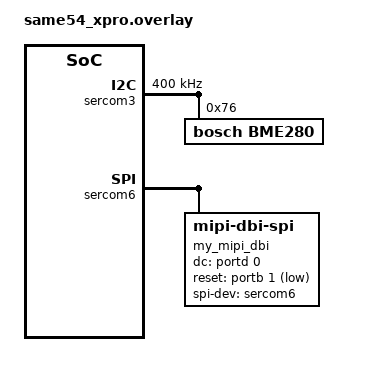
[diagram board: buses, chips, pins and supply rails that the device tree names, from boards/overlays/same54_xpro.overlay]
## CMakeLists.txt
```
cmake_minimum_required(VERSION 3.20.0)

# ------------------------------------------------------------
# Board-specific DTS overlays (MUST be set before Zephyr)
# ------------------------------------------------------------
if(DEFINED BOARD)
  if(BOARD STREQUAL "same54_xpro")
    list(APPEND DTC_OVERLAY_FILE
      ${CMAKE_CURRENT_SOURCE_DIR}/boards/overlays/same54_xpro.overlay
    )
  elseif(BOARD STREQUAL "samd21_iot_wg")
    list(APPEND DTC_OVERLAY_FILE
      ${CMAKE_CURRENT_SOURCE_DIR}/boards/overlays/samd21_iot_wg.overlay
    )
  elseif(BOARD STREQUAL "samd21_iot_wg2")
    list(APPEND DTC_OVERLAY_FILE
      ${CMAKE_CURRENT_SOURCE_DIR}/boards/overlays/samd21_iot_wg2.overlay
    )
    elseif(BOARD STREQUAL "samd21_xpro_ot")
    list(APPEND DTC_OVERLAY_FILE
      ${CMAKE_CURRENT_SOURCE_DIR}/boards/overlays/samd21_xpro_ot.overlay
    )
  elseif(BOARD STREQUAL "feather_m4_zephyr_ot")
    list(APPEND DTC_OVERLAY_FILE
      ${CMAKE_CURRENT_SOURCE_DIR}/boards/overlays/feather_m4_zephyr_ot.overlay
    )
  endif()
endif()

list(APPEND ZEPHYR_EXTRA_MODULES
  ${CMAKE_CURRENT_LIST_DIR}/modules/ws2812_common
)

find_package(Zephyr REQUIRED HINTS $ENV{ZEPHYR_BASE})

project(mchp_weather_gfx)

target_include_directories(app PRIVATE ${CMAKE_CURRENT_LIST_DIR}/include)

target_sources(app PRIVATE
    src/main.c
    src/bme280_text.c
    src/bme280_chart.c
)

target_link_libraries(app PRIVATE ws2812_common)
```

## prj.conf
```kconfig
# Enable console output
CONFIG_PRINTK=y
CONFIG_NEWLIB_LIBC=y
CONFIG_CBPRINTF_FP_SUPPORT=y

# Configure SPI
CONFIG_GPIO=y
CONFIG_SPI=y
CONFIG_I2C=y

# Sensor subsystem
CONFIG_SENSOR=y

# BME280 driver
CONFIG_BME280=y

CONFIG_LOG=y
CONFIG_SENSOR_LOG_LEVEL_DBG=y
CONFIG_PINCTRL_LOG_LEVEL_DBG=y 

CONFIG_INPUT=y
CONFIG_GPIO_SAM0=y

CONFIG_MAIN_STACK_SIZE=8192
CONFIG_SYSTEM_WORKQUEUE_STACK_SIZE=4096

CONFIG_DISPLAY=y
CONFIG_DISPLAY_LOG_LEVEL_ERR=y

CONFIG_LVGL=y
CONFIG_LV_Z_MEM_POOL_SIZE=40000
CONFIG_LV_Z_VDB_SIZE=10

# Display needs data in BGR format, with endianess swapped for SPI
CONFIG_LV_COLOR_DEPTH_16=y
CONFIG_LV_COLOR_16_SWAP=y

CONFIG_SYS_CLOCK_EXISTS=y
CONFIG_LV_CONF_MINIMAL=y
CONFIG_LV_USE_LABEL=y
CONFIG_LV_USE_BUTTON=y
CONFIG_LV_USE_CHART=y
CONFIG_LV_USE_IMAGE=y
CONFIG_LV_USE_THEME_DEFAULT=y
CONFIG_LV_FONT_MONTSERRAT_28=y
CONFIG_TICKLESS_KERNEL=n
CONFIG_LV_USE_ARC=n
CONFIG_LV_USE_BAR=n
CONFIG_LV_USE_DROPDOWN=n
CONFIG_LV_USE_SLIDER=n
CONFIG_LV_USE_TEXTAREA=n
CONFIG_LV_USE_CANVAS=n
CONFIG_LV_USE_THEME_MONO=n
```

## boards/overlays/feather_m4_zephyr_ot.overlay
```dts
/{
    aliases {
        bme280sensor = &bme280;
    };
};

/* I2C interface to the mikroe socket */
&sercom2 {
    status = "okay";

    bme280: bme280@76 {
        status = "okay";
        compatible = "bosch,bme280";
        reg = <0x76>;
    };
};
```

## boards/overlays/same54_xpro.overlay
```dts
#include <zephyr/dt-bindings/display/panel.h>

/{
    aliases {
        bme280sensor = &bme280;
        spi6 = &sercom6;
    };

    chosen {
        zephyr,display = &gc9x01x_lcd;
    };   
};

&pinctrl {
	sercom6_spi_default: sercom6_spi_default {
		group1 {
			pinmux = <PC5C_SERCOM6_PAD1>,
                    <PC4C_SERCOM6_PAD0>,
	                <PC7C_SERCOM6_PAD3>;
		};
	};

    sercom3_i2c_default: sercom3_i2c_default {
        group1 {
            pinmux = <PA22C_SERCOM3_PAD0>,
                    <PA23C_SERCOM3_PAD1>;
        };
    };
};

&sercom3 {
    status = "okay";
    compatible = "atmel,sam0-i2c";
    clock-frequency = <I2C_BITRATE_FAST>;
    #address-cells = <1>;
    #size-cells = <0>;

    pinctrl-0 = <&sercom3_i2c_default>;
    pinctrl-names = "default";

    bme280: bme280@76 {
        status = "okay";
        compatible = "bosch,bme280";
        reg = <0x76>;
    };
};

&sercom6 {
    status = "okay";
    compatible = "atmel,sam0-spi";
    dipo = <3>;
    dopo = <0>;

    #address-cells = <1>;
    #size-cells = <0>;

    pinctrl-0 = <&sercom6_spi_default>;
	pinctrl-names = "default";

    /* Use SPI SS pin as GPIO CS */
    cs-gpios = <&portc 6 GPIO_ACTIVE_LOW>;

    my_mipi_dbi {
        compatible = "zephyr,mipi-dbi-spi";
        status = "okay";
        #address-cells = <1>;
        #size-cells = <0>;
        spi-dev = <&sercom6>;
        dc-gpios = <&portd 0 GPIO_ACTIVE_HIGH>;
        reset-gpios = <&portb 1 GPIO_ACTIVE_LOW>;

        gc9x01x_lcd: gc9x01x_lcd@0 {
            compatible = "galaxycore,gc9x01x";
            reg = <0>;
            mipi-max-frequency = <20000000>;
            pixel-format = <PANEL_PIXEL_FORMAT_RGB_565>;
            width = <240>;
            height = <240>;
            display-inversion;
        };
    };
};
```

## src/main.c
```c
/*
 * Main application for BME280 visualization on a round display.
 *
 * This program initializes a BME280 sensor, display, and LVGL UI to show
 * sensor data in two modes: text display, rolling chart.
 * Button presses cycle between screens.
 */
#include <zephyr/kernel.h>
#include <zephyr/sys/printk.h>
#include <zephyr/drivers/gpio.h>
#include <zephyr/input/input.h>
#include <zephyr/device.h>
#include <zephyr/drivers/sensor.h>
#include <zephyr/drivers/display.h>
#include <zephyr/drivers/spi.h>
#include <lvgl.h>
#include <soc.h>
#include <stdio.h>
#include <stdlib.h>
#include <ws2812_common.h>
#include "bme280_text.h"
#include "bme280_chart.h"

#define SLEEP_TIME_MS 10  /* Main loop sleep time */

static volatile int irq_from_button = 0;  /* Flag set by button interrupt */
static bool button_pressed = false;  /* Current button state */

static const struct gpio_dt_spec led = GPIO_DT_SPEC_GET(DT_ALIAS(led0), gpios);

static const struct gpio_dt_spec switch0 = GPIO_DT_SPEC_GET(DT_ALIAS(sw0), gpios);
static const struct gpio_dt_spec switch1 = GPIO_DT_SPEC_GET_OR(DT_ALIAS(sw1), gpios, {0});
static const struct device *bme280 = DEVICE_DT_GET(DT_ALIAS(bme280sensor));

/* Static storage for the LVGL screens */
static lv_obj_t *text_screen = NULL;
static lv_obj_t *chart_screen = NULL;

typedef enum {
    SCREEN_TEXT = 0,
    SCREEN_CHART
} screen_mode_t;

static screen_mode_t current_screen = SCREEN_TEXT;

static struct k_timer bme_timer;
static struct k_work bme_work;
static struct sensor_value temperature, pressure, humidity;

/* a message queue to send data to the main thread*/
K_MSGQ_DEFINE(bme_msgq, sizeof(struct sensor_value) * 3, 4, 4);

static void bme_timer_handler(struct k_timer *dummy)
{
    k_work_submit(&bme_work);
}

static void bme_work_handler(struct k_work *work)
{
    if (sensor_sample_fetch(bme280) < 0) {
        printk("Failed to fetch BME280 sample\n");
        return;
    }   

    sensor_channel_get(bme280, SENSOR_CHAN_AMBIENT_TEMP, &temperature);
    sensor_channel_get(bme280, SENSOR_CHAN_PRESS, &pressure);
    sensor_channel_get(bme280, SENSOR_CHAN_HUMIDITY, &humidity);

    struct sensor_value data[3] = {
        temperature, 
        pressure, 
        humidity
    };

    k_msgq_put(&bme_msgq, &data, K_NO_WAIT);
}

void bme_init(void)
{
    k_work_init(&bme_work, bme_work_handler);
    k_timer_init(&bme_timer, bme_timer_handler, NULL);
    k_timer_start(&bme_timer, K_MSEC(250), K_MSEC(250));
}

void heartbeat_thread(void)
{
    while (1) {
        gpio_pin_set_dt(&led, 1);
        k_msleep(100);

        gpio_pin_set_dt(&led, 0);
        k_msleep(100);

        gpio_pin_set_dt(&led, 1);
        k_msleep(100);

        gpio_pin_set_dt(&led, 0);
        k_msleep(700);
    }
}

K_THREAD_DEFINE(heartbeat_tid, 512, heartbeat_thread, NULL, NULL, NULL,
                7, 0, 0);

/*
 * LVGL input device read callback for button input.
 * Maps GPIO button state to LVGL touch events.
 */
static void lv_button_read(lv_indev_t * indev_drv, lv_indev_data_t * data)
{
    button_pressed = gpio_pin_get_dt(&switch0) == 1;
    data->state = button_pressed ? LV_INDEV_STATE_PRESSED : LV_INDEV_STATE_RELEASED;
    data->point.x = 120;  /* Dummy touch coordinates */
    data->point.y = 160;
}

/*
 * Button input event callback
 */
static void button_input_cb(struct input_event *evt, void *user_data)
{
    if (evt->sync == 0) {
        return;
    }

    irq_from_button = 1;
    printk("Button %d %s\n", evt->code, evt->value ? "pressed" : "released");
}

INPUT_CALLBACK_DEFINE(NULL, button_input_cb, NULL);

int main(void)
{
    int ret;
    struct sensor_value data[3];

    printk("Application started\n");

    /* Initialize LED GPIO */
    if (!gpio_is_ready_dt(&led)) {
        return 0;
    }

    ret = gpio_pin_configure_dt(&led, GPIO_OUTPUT_ACTIVE);
    if (ret < 0) {
        return 0;
    }

    /* Enable button interrupts */
    if (device_is_ready(switch0.port)) {
        gpio_pin_interrupt_configure_dt(&switch0, GPIO_INPUT);
    }

    if (device_is_ready(switch1.port)) {
        gpio_pin_interrupt_configure_dt(&switch1, GPIO_INPUT);
    }

    /* Configure the BME280 device */
    if (bme280 == NULL) {
        printk("BME280 device not found\n");
        return 0;
    }
    printf("Device %p name is %s\n", bme280, bme280->name);

    if (device_is_ready(bme280)) {
        printk("BME280 device is ready\n");
        bme_init();
    } else {
        printk("BME280 device is not ready\n");
        return 0;
    }

    const struct device *sercom_dev = DEVICE_DT_GET(DT_NODELABEL(sercom3));
    if (!device_is_ready(sercom_dev)) {
        printk("SERCOM3 I2C NOT READY\n");
    } else {
        printk("SERCOM3 I2C READY\n");
    }

    /* Initialize display and LVGL */
    const struct device *display_dev;

    display_dev = DEVICE_DT_GET(DT_CHOSEN(zephyr_display));
    if (!device_is_ready(display_dev)) {
        printk("Device not ready, aborting test\n");
        return 0;
    }

    display_set_pixel_format(display_dev, PIXEL_FORMAT_RGB_565);
    display_blanking_off(display_dev);

    /* Create LVGL input device for button */
    lv_indev_t *indev = lv_indev_create();
    lv_indev_set_type(indev, LV_INDEV_TYPE_POINTER);
    lv_indev_set_read_cb(indev, lv_button_read);

    struct display_capabilities caps;
    display_get_capabilities(display_dev, &caps);
    uint16_t width = caps.x_resolution;
    uint16_t height = caps.y_resolution;
    printk("Display size: %dx%d\n", width, height);

    /* ======== LVGL Screen Initialization ======== */
    /* Create text screen */
    text_screen = lv_obj_create(NULL);
    lv_scr_load(text_screen);
    bme280_text_init(text_screen);

    /* Create chart screen */
    chart_screen = lv_obj_create(NULL);
    bme280_chart_init(chart_screen);

    /* Temporary next button */
    lv_obj_t *btn = lv_button_create(lv_screen_active());
    lv_obj_set_size(btn, 80, 40);
    lv_obj_align(btn, LV_ALIGN_CENTER, 0, 60);

    lv_obj_t *btn_label = lv_label_create(btn);
    lv_label_set_text(btn_label, "Next");
    lv_obj_center(btn_label);

    /* Main application loop */
    while (1) {
        /* Toggle LED */
        // ret = gpio_pin_toggle_dt(&led);
        // if (ret < 0) {
        //     return 0;
        // }

        /* Handle button press to switch screens */
        if (irq_from_button) {
            irq_from_button = 0;
            button_pressed = gpio_pin_get_dt(&switch0) == 1;
            /* Remove welcome UI elements on first press */
            if (btn != NULL) {
                lv_obj_del(btn);
                btn = NULL;
            }

            if (button_pressed) {
                current_screen = (current_screen + 1) % 2;

                /* Load the new screen */
                switch(current_screen) {
                    case SCREEN_TEXT:
                        lv_scr_load(text_screen);
                        break;
                    case SCREEN_CHART:
                        lv_scr_load(chart_screen);
                        break;
                }
            }
        }

        if (k_msgq_get(&bme_msgq, &data, K_NO_WAIT) == 0) {
            if (current_screen == SCREEN_TEXT) {
                update_bme280_text(&data[0], &data[1], &data[2]);
            } else {
                update_bme280_chart(&data[0], &data[1], &data[2]);
            }
        }

        /* Run LVGL timer handler for UI updates */
        lv_timer_handler();

        k_msleep(SLEEP_TIME_MS);
    }

    return 0;
}
```

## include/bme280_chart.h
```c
/**
 * @file bme280_chart.h
 *
 * Helper APIs for rendering a rolling BME280 sensor chart using LVGL.
 * This module creates a small oscilloscope-style chart that plots the
 * temperature, humidity, and pressure channels in real time.
 */
#ifndef BME280_CHART_H
#define BME280_CHART_H

#include <zephyr/drivers/sensor.h>
#include <lvgl.h>
#include <stdint.h>

/**
 * Initialize the BME280 chart.
 *
 * This must be called once before calling update_bme280_chart(). The returned
 * object is the same parent that was passed in, which allows chaining in the
 * caller if desired.
 *
 * @param parent The LVGL object to contain the chart.
 * @return The same parent object passed in.
 */
lv_obj_t* bme280_chart_init(lv_obj_t *parent);

/**
 * Push new BME280 samples into the chart.
 *
 * This should be called whenever a new sensor sample is available.
 * Only the integer part (val1) of each sensor_value is used.
 *
 * @param temp_sv Pointer to temperature value.
 * @param hum_sv Pointer to humidity value.
 * @param press_sv Pointer to pressure value.
 */
void update_bme280_chart(struct sensor_value *temp_sv,
                         struct sensor_value *hum_sv,
                         struct sensor_value *press_sv);

#endif /* BME280_CHART_H */
```

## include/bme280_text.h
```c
/**
 * @file bme280_text.h
 *
 * Helper APIs for BME280 sensor text display using LVGL.
 * This module creates a simple text-based display for showing real-time
 * sensor values (Temperature/Pressure/Humidity).
 */
#ifndef BME280_TEXT_H
#define BME280_TEXT_H

#include <zephyr/drivers/sensor.h>
#include <lvgl.h>
#include <stdint.h>

/**
 * Initialize the BME280 Text.
 *
 * This must be called once before calling update_bme280_text(). The returned
 * object is the same parent that was passed in, which allows chaining in the
 * caller if desired.
 *
 * @param parent The LVGL object to contain the text.
 * @return The same parent object passed in.
 */
lv_obj_t* bme280_text_init(lv_obj_t *parent);

/**
 * Push new BME280 samples into the text.
 *
 * This should be called whenever a new BME280 sample is available.
 *
 * @param temperature Pointer to temperature value.
 * @param pressure Pointer to pressure value.
 * @param humidity Pointer to humidity value.
 */
void update_bme280_text(struct sensor_value *temperature,
                        struct sensor_value *pressure,
                        struct sensor_value *humidity);

#endif /* BME280_TEXT_H */
```

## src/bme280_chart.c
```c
/*
 * A simple LVGL chart implementation that plots BME280 sensor values
 * (temperature / humidity / pressure) over time.
 *
 * The chart is configured as a circular rolling buffer, where new values
 * replace the oldest ones. This gives an "oscilloscope" feel.
 */
#include <zephyr/kernel.h>
#include <zephyr/sys/printk.h>
#include <stdlib.h>
#include <stdio.h>
#include <lvgl.h>
#include <math.h>
#include "bme280_chart.h"

static lv_obj_t *chart;
static lv_chart_series_t *ser_temp;
static lv_chart_series_t *ser_hum;
static lv_chart_series_t *ser_press;

lv_obj_t* bme280_chart_init(lv_obj_t *parent)
{
    /* Create a chart object as a child of the given parent */
    chart = lv_chart_create(parent);

    /* Give the chart a fixed size and center it */
    lv_obj_set_size(chart, 200, 200);
    lv_obj_center(chart);

    /*
     * Use a dark background and minimal border to look like an oscilloscope.
     */
    lv_obj_set_style_bg_color(chart, lv_color_black(), 0);
    lv_obj_set_style_bg_opa(chart, LV_OPA_COVER, 0);
    lv_obj_set_style_border_width(chart, 1, 0);
    lv_obj_set_style_border_color(chart, lv_color_hex(0x444444), 0);

    /* Grid lines for reference */
    lv_chart_set_div_line_count(chart, 6, 6);

    lv_obj_set_style_line_color(chart, lv_color_hex(0x333333), LV_PART_MAIN);
    lv_obj_set_style_line_width(chart, 1, LV_PART_MAIN);

    /* Use circular update mode so the chart scrolls continuously */
    lv_chart_set_update_mode(chart, LV_CHART_UPDATE_MODE_CIRCULAR);
    lv_obj_set_style_size(chart, 0, 0, LV_PART_INDICATOR);

    /* 120 points per series and a Y range that covers temperature/humidity/pressure */
    lv_chart_set_point_count(chart, 120);
    lv_chart_set_range(chart, LV_CHART_AXIS_PRIMARY_Y, 0, 110);

    /* Add three series for temperature/humidity/pressure */
    ser_temp = lv_chart_add_series(chart, lv_palette_main(LV_PALETTE_RED), LV_CHART_AXIS_PRIMARY_Y);
    ser_hum  = lv_chart_add_series(chart, lv_palette_main(LV_PALETTE_GREEN), LV_CHART_AXIS_PRIMARY_Y);
    ser_press = lv_chart_add_series(chart, lv_palette_main(LV_PALETTE_BLUE), LV_CHART_AXIS_PRIMARY_Y);

    return parent;
}

/**
 * update_bme280_chart - add new sensor values to the chart
 *
 * This is intended to be called whenever a new BME280 sample is available.
 * It pushes the values into the chart series and then clears a few points
 * ahead of the write cursor to avoid visual ghosting artifacts.
 */
void update_bme280_chart(struct sensor_value *temp_sv,
                          struct sensor_value *hum_sv,
                          struct sensor_value *press_sv)
{
    /* Use only the integer component (val1) from the sensor_value */
    int32_t temp_val = temp_sv->val1;
    int32_t hum_val = hum_sv->val1;
    int32_t press_val = press_sv->val1;

    /* Append new samples to each series */
    lv_chart_set_next_value(chart, ser_temp, temp_val);
    lv_chart_set_next_value(chart, ser_hum, hum_val);
    lv_chart_set_next_value(chart, ser_press, press_val);

    /*
     * LVGL leaves old points behind when using circular mode. Clearing a few
     * points ahead of the cursor prevents "ghosting" where remnants of old
     * data remain visible after the chart wraps around.
     */
    uint32_t point_count = lv_chart_get_point_count(chart);
    uint32_t start_idx = lv_chart_get_x_start_point(chart, ser_temp);

    int32_t *st = lv_chart_get_series_y_array(chart, ser_temp);
    int32_t *sh = lv_chart_get_series_y_array(chart, ser_hum);
    int32_t *sp = lv_chart_get_series_y_array(chart, ser_press);

    for (int i = 1; i <= 3; i++) {
        st[(start_idx + i) % point_count] = LV_CHART_POINT_NONE;
        sh[(start_idx + i) % point_count] = LV_CHART_POINT_NONE;
        sp[(start_idx + i) % point_count] = LV_CHART_POINT_NONE;
    }

    /* Force a redraw so the new points appear immediately */
    lv_chart_refresh(chart);
}
```

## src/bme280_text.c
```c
/*
 * BME280 text display module.
 *
 * This module provides a simple LVGL-based UI for displaying real-time
 * BME280 sensor values (Temperature/Pressure/Humidity) as large text labels. It creates a
 * bordered container with three colored labels and separator lines.
 */
#include <stdlib.h>
#include <stdio.h>
#include <zephyr/kernel.h>
#include <zephyr/sys/printk.h>
#include <zephyr/drivers/sensor.h>
#include <lvgl.h>
#include <math.h>
#include "bme280_text.h"

#define LABEL_X_OFFSET 10  /* Horizontal offset for labels from left edge */

static lv_obj_t *screen_text;
static lv_obj_t *container;

static lv_obj_t *label_temperature;
static lv_obj_t *label_pressure;
static lv_obj_t *label_humidity;

lv_obj_t* bme280_text_init(lv_obj_t *parent)
{
    /* Create the main container for the text display */
    screen_text = lv_obj_create(parent);
    lv_obj_set_style_bg_color(screen_text, lv_color_black(), 0);
    lv_obj_set_size(screen_text, 180, 180);
    lv_obj_center(screen_text);

    /* Inner container with border and rounded corners */
    container = lv_obj_create(screen_text);
    lv_obj_set_size(container, 180, 180);
    lv_obj_center(container);

    lv_obj_set_style_bg_color(container, lv_color_black(), 0);
    lv_obj_set_style_border_color(container, lv_color_hex(0x444444), 0);
    lv_obj_set_style_border_width(container, 2, 0);
    lv_obj_set_style_radius(container, 10, 0);

    /* Create temperature label (red, top) */
    label_temperature = lv_label_create(container);
    lv_obj_set_style_text_color(label_temperature, lv_palette_main(LV_PALETTE_RED), 0);
    lv_obj_set_style_text_font(label_temperature, &lv_font_montserrat_28, 0);
    lv_obj_align(label_temperature, LV_ALIGN_TOP_LEFT, LABEL_X_OFFSET, 4);

    /* Create pressure label (green, middle) */
    label_pressure = lv_label_create(container);
    lv_obj_set_style_text_color(label_pressure, lv_palette_main(LV_PALETTE_GREEN), 0);
    lv_obj_set_style_text_font(label_pressure, &lv_font_montserrat_28, 0);
    lv_obj_align(label_pressure, LV_ALIGN_LEFT_MID, LABEL_X_OFFSET, 0);

    /* Create humidity label (blue, bottom) */
    label_humidity = lv_label_create(container);
    lv_obj_set_style_text_color(label_humidity, lv_palette_main(LV_PALETTE_BLUE), 0);
    lv_obj_set_style_text_font(label_humidity, &lv_font_montserrat_28, 0);
    lv_obj_align(label_humidity, LV_ALIGN_BOTTOM_LEFT, LABEL_X_OFFSET, -4);

    /* Add horizontal separator lines between labels */
    lv_obj_t *line1 = lv_obj_create(container);
    lv_obj_set_size(line1, 160, 1);
    lv_obj_align(line1, LV_ALIGN_CENTER, 0, -30);
    lv_obj_set_style_bg_color(line1, lv_color_hex(0x444444), 0);
    lv_obj_clear_flag(line1, LV_OBJ_FLAG_SCROLLABLE);

    lv_obj_t *line2 = lv_obj_create(container);
    lv_obj_set_size(line2, 160, 1);
    lv_obj_align(line2, LV_ALIGN_CENTER, 0, 30);
    lv_obj_set_style_bg_color(line2, lv_color_hex(0x444444), 0);
    lv_obj_clear_flag(line2, LV_OBJ_FLAG_SCROLLABLE);

    return parent;
}

void update_bme280_text(struct sensor_value *temperature,
                        struct sensor_value *pressure,
                        struct sensor_value *humidity)
{
    /* Convert sensor values to double for display */
    double temp = sensor_value_to_double(temperature);
    double pres = sensor_value_to_double(pressure);
    double hum = sensor_value_to_double(humidity);

    /* Update each label with formatted text */
    lv_label_set_text_fmt(label_temperature, "T: %6.2f", temp);
    lv_label_set_text_fmt(label_pressure, "P: %6.2f", pres);
    lv_label_set_text_fmt(label_humidity, "H: %6.2f", hum);
}
```
